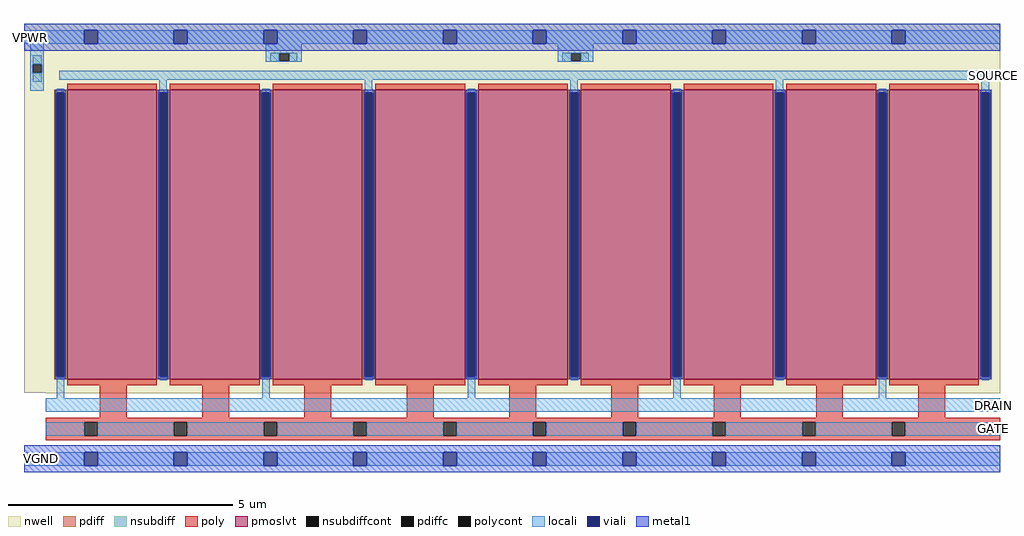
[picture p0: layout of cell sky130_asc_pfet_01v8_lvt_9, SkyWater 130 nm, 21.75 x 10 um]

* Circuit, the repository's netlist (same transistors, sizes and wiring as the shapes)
* NGSPICE file created from sky130_asc_pfet_01v8_lvt_9.ext - technology: sky130A

.subckt sky130_asc_pfet_01v8_lvt_9 GATE SOURCE DRAIN VGND VPWR
X0 SOURCE GATE DRAIN VPWR sky130_fd_pr__pfet_01v8_lvt ad=9.3525e+12p pd=6.74e+07u as=9.3525e+12p ps=6.74e+07u w=6.45e+06u l=2e+06u
X1 DRAIN GATE SOURCE VPWR sky130_fd_pr__pfet_01v8_lvt ad=0p pd=0u as=0p ps=0u w=6.45e+06u l=2e+06u
X2 SOURCE GATE DRAIN VPWR sky130_fd_pr__pfet_01v8_lvt ad=0p pd=0u as=0p ps=0u w=6.45e+06u l=2e+06u
X3 SOURCE GATE DRAIN VPWR sky130_fd_pr__pfet_01v8_lvt ad=0p pd=0u as=0p ps=0u w=6.45e+06u l=2e+06u
X4 SOURCE GATE DRAIN VPWR sky130_fd_pr__pfet_01v8_lvt ad=0p pd=0u as=0p ps=0u w=6.45e+06u l=2e+06u
X5 DRAIN GATE SOURCE VPWR sky130_fd_pr__pfet_01v8_lvt ad=0p pd=0u as=0p ps=0u w=6.45e+06u l=2e+06u
X6 DRAIN GATE SOURCE VPWR sky130_fd_pr__pfet_01v8_lvt ad=0p pd=0u as=0p ps=0u w=6.45e+06u l=2e+06u
X7 SOURCE GATE DRAIN VPWR sky130_fd_pr__pfet_01v8_lvt ad=0p pd=0u as=0p ps=0u w=6.45e+06u l=2e+06u
X8 DRAIN GATE SOURCE VPWR sky130_fd_pr__pfet_01v8_lvt ad=0p pd=0u as=0p ps=0u w=6.45e+06u l=2e+06u
.ends

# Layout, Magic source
magic
tech sky130A
magscale 1 2
<< nwell >>
rect 120 294 4470 1940
rect 218 293 4470 294
<< pmoslvt >>
rect 312 355 712 1645
rect 770 355 1170 1645
rect 1228 355 1628 1645
rect 1686 355 2086 1645
rect 2144 355 2544 1645
rect 2602 355 3002 1645
rect 3060 355 3460 1645
rect 3518 355 3918 1645
rect 3976 355 4376 1645
<< pdiff >>
rect 254 1633 312 1645
rect 254 367 266 1633
rect 300 367 312 1633
rect 254 355 312 367
rect 712 1633 770 1645
rect 712 367 724 1633
rect 758 367 770 1633
rect 712 355 770 367
rect 1170 1633 1228 1645
rect 1170 367 1182 1633
rect 1216 367 1228 1633
rect 1170 355 1228 367
rect 1628 1633 1686 1645
rect 1628 367 1640 1633
rect 1674 367 1686 1633
rect 1628 355 1686 367
rect 2086 1633 2144 1645
rect 2086 367 2098 1633
rect 2132 367 2144 1633
rect 2086 355 2144 367
rect 2544 1633 2602 1645
rect 2544 367 2556 1633
rect 2590 367 2602 1633
rect 2544 355 2602 367
rect 3002 1633 3060 1645
rect 3002 367 3014 1633
rect 3048 367 3060 1633
rect 3002 355 3060 367
rect 3460 1633 3518 1645
rect 3460 367 3472 1633
rect 3506 367 3518 1633
rect 3460 355 3518 367
rect 3918 1633 3976 1645
rect 3918 367 3930 1633
rect 3964 367 3976 1633
rect 3918 355 3976 367
rect 4376 1633 4434 1645
rect 4376 367 4388 1633
rect 4422 367 4434 1633
rect 4376 355 4434 367
<< pdiffc >>
rect 266 367 300 1633
rect 724 367 758 1633
rect 1182 367 1216 1633
rect 1640 367 1674 1633
rect 2098 367 2132 1633
rect 2556 367 2590 1633
rect 3014 367 3048 1633
rect 3472 367 3506 1633
rect 3930 367 3964 1633
rect 4388 367 4422 1633
<< nsubdiff >>
rect 1218 1808 1338 1810
rect 158 1760 198 1800
rect 1218 1772 1258 1808
rect 1302 1772 1338 1808
rect 1218 1770 1338 1772
rect 2518 1808 2638 1810
rect 2518 1772 2558 1808
rect 2602 1772 2638 1808
rect 2518 1770 2638 1772
rect 158 1680 198 1720
<< nsubdiffcont >>
rect 1258 1772 1302 1808
rect 2558 1772 2602 1808
rect 158 1720 198 1760
<< poly >>
rect 312 1645 712 1671
rect 770 1645 1170 1671
rect 1228 1645 1628 1671
rect 1686 1645 2086 1671
rect 2144 1645 2544 1671
rect 2602 1645 3002 1671
rect 3060 1645 3460 1671
rect 3518 1645 3918 1671
rect 3976 1645 4376 1671
rect 312 329 712 355
rect 770 329 1170 355
rect 1228 329 1628 355
rect 1686 329 2086 355
rect 2144 329 2544 355
rect 2602 329 3002 355
rect 3060 329 3460 355
rect 3518 329 3918 355
rect 3976 329 4376 355
rect 458 184 578 329
rect 914 184 1034 329
rect 1370 184 1490 329
rect 1826 184 1946 329
rect 2282 184 2402 329
rect 2738 184 2858 329
rect 3194 184 3314 329
rect 3650 184 3770 329
rect 4106 184 4226 329
rect 218 164 4470 184
rect 218 104 388 164
rect 448 104 788 164
rect 848 104 1188 164
rect 1248 104 1588 164
rect 1648 104 1988 164
rect 2048 104 2388 164
rect 2448 104 2788 164
rect 2848 104 3188 164
rect 3248 104 3588 164
rect 3648 104 3988 164
rect 4048 104 4470 164
rect 218 84 4470 104
<< polycont >>
rect 388 104 448 164
rect 788 104 848 164
rect 1188 104 1248 164
rect 1588 104 1648 164
rect 1988 104 2048 164
rect 2388 104 2448 164
rect 2788 104 2848 164
rect 3188 104 3248 164
rect 3588 104 3648 164
rect 3988 104 4048 164
<< locali >>
rect 120 1850 388 1910
rect 448 1850 788 1910
rect 848 1850 1188 1910
rect 1248 1850 1588 1910
rect 1648 1850 1988 1910
rect 2048 1850 2388 1910
rect 2448 1850 2788 1910
rect 2848 1850 3188 1910
rect 3248 1850 3588 1910
rect 3648 1850 3988 1910
rect 4048 1850 4470 1910
rect 148 1760 208 1850
rect 1198 1808 1358 1850
rect 1198 1772 1258 1808
rect 1302 1772 1358 1808
rect 1198 1770 1358 1772
rect 2498 1808 2658 1850
rect 2498 1772 2558 1808
rect 2602 1772 2658 1808
rect 2498 1770 2658 1772
rect 148 1720 158 1760
rect 198 1720 208 1760
rect 148 1640 208 1720
rect 278 1690 4470 1730
rect 723 1649 757 1690
rect 1639 1649 1673 1690
rect 2555 1649 2589 1690
rect 3471 1649 3505 1690
rect 4387 1649 4421 1690
rect 266 1633 300 1649
rect 265 367 266 374
rect 723 1633 758 1649
rect 723 1626 724 1633
rect 265 351 300 367
rect 1182 1633 1216 1649
rect 724 351 758 367
rect 1181 367 1182 374
rect 1639 1633 1674 1649
rect 1639 1626 1640 1633
rect 1181 351 1216 367
rect 2098 1633 2132 1649
rect 1640 351 1674 367
rect 2097 367 2098 374
rect 2555 1633 2590 1649
rect 2555 1626 2556 1633
rect 2097 351 2132 367
rect 3014 1633 3048 1649
rect 2556 351 2590 367
rect 3013 367 3014 374
rect 3471 1633 3506 1649
rect 3471 1626 3472 1633
rect 3013 351 3048 367
rect 3930 1633 3964 1649
rect 3472 351 3506 367
rect 3929 367 3930 374
rect 4387 1633 4422 1649
rect 4387 1626 4388 1633
rect 3929 351 3964 367
rect 4388 351 4422 367
rect 265 270 299 351
rect 1181 270 1215 351
rect 2097 270 2131 351
rect 3013 270 3047 351
rect 3929 270 3963 351
rect 218 210 4470 270
rect 218 104 388 164
rect 448 104 788 164
rect 848 104 1188 164
rect 1248 104 1588 164
rect 1648 104 1988 164
rect 2048 104 2388 164
rect 2448 104 2788 164
rect 2848 104 3188 164
rect 3248 104 3588 164
rect 3648 104 3988 164
rect 4048 104 4470 164
rect 120 -30 388 30
rect 448 -30 788 30
rect 848 -30 1188 30
rect 1248 -30 1588 30
rect 1648 -30 1988 30
rect 2048 -30 2388 30
rect 2448 -30 2788 30
rect 2848 -30 3188 30
rect 3248 -30 3588 30
rect 3648 -30 3988 30
rect 4048 -30 4470 30
<< viali >>
rect 388 1850 448 1910
rect 788 1850 848 1910
rect 1188 1850 1248 1910
rect 1588 1850 1648 1910
rect 1988 1850 2048 1910
rect 2388 1850 2448 1910
rect 2788 1850 2848 1910
rect 3188 1850 3248 1910
rect 3588 1850 3648 1910
rect 3988 1850 4048 1910
rect 266 367 300 1633
rect 724 367 758 1633
rect 1182 367 1216 1633
rect 1640 367 1674 1633
rect 2098 367 2132 1633
rect 2556 367 2590 1633
rect 3014 367 3048 1633
rect 3472 367 3506 1633
rect 3930 367 3964 1633
rect 4388 367 4422 1633
rect 388 -30 448 30
rect 788 -30 848 30
rect 1188 -30 1248 30
rect 1588 -30 1648 30
rect 1988 -30 2048 30
rect 2388 -30 2448 30
rect 2788 -30 2848 30
rect 3188 -30 3248 30
rect 3588 -30 3648 30
rect 3988 -30 4048 30
<< metal1 >>
rect 120 1910 4470 1940
rect 120 1850 388 1910
rect 448 1850 788 1910
rect 848 1850 1188 1910
rect 1248 1850 1588 1910
rect 1648 1850 1988 1910
rect 2048 1850 2388 1910
rect 2448 1850 2788 1910
rect 2848 1850 3188 1910
rect 3248 1850 3588 1910
rect 3648 1850 3988 1910
rect 4048 1850 4470 1910
rect 120 1820 4470 1850
rect 260 1633 306 1645
rect 260 367 266 1633
rect 300 367 306 1633
rect 260 355 306 367
rect 718 1633 764 1645
rect 718 367 724 1633
rect 758 367 764 1633
rect 718 355 764 367
rect 1176 1633 1222 1645
rect 1176 367 1182 1633
rect 1216 367 1222 1633
rect 1176 355 1222 367
rect 1634 1633 1680 1645
rect 1634 367 1640 1633
rect 1674 367 1680 1633
rect 1634 355 1680 367
rect 2092 1633 2138 1645
rect 2092 367 2098 1633
rect 2132 367 2138 1633
rect 2092 355 2138 367
rect 2550 1633 2596 1645
rect 2550 367 2556 1633
rect 2590 367 2596 1633
rect 2550 355 2596 367
rect 3008 1633 3054 1645
rect 3008 367 3014 1633
rect 3048 367 3054 1633
rect 3008 355 3054 367
rect 3466 1633 3512 1645
rect 3466 367 3472 1633
rect 3506 367 3512 1633
rect 3466 355 3512 367
rect 3924 1633 3970 1645
rect 3924 367 3930 1633
rect 3964 367 3970 1633
rect 3924 355 3970 367
rect 4382 1633 4428 1645
rect 4382 367 4388 1633
rect 4422 367 4428 1633
rect 4382 355 4428 367
rect 120 30 4470 60
rect 120 -30 388 30
rect 448 -30 788 30
rect 848 -30 1188 30
rect 1248 -30 1588 30
rect 1648 -30 1988 30
rect 2048 -30 2388 30
rect 2448 -30 2788 30
rect 2848 -30 3188 30
rect 3248 -30 3588 30
rect 3648 -30 3988 30
rect 4048 -30 4470 30
rect 120 -60 4470 -30
<< labels >>
flabel nwell 120 1850 180 1910 1 FreeSans 800 0 0 0 VPWR
port 4 n power bidirectional
flabel metal1 120 -30 278 30 1 FreeSans 800 0 0 0 VGND
port 5 n ground bidirectional
flabel locali 4410 1690 4470 1730 1 FreeSans 800 0 0 0 SOURCE
port 2 n signal bidirectional
flabel locali 4410 210 4470 270 1 FreeSans 800 0 0 0 DRAIN
port 3 n signal bidirectional
flabel locali 4410 104 4470 164 1 FreeSans 800 0 0 0 GATE
port 1 n signal bidirectional
<< properties >>
string FIXED_BBOX 0 0 4770 1880
string LEFclass CORE
string LEFsite unitasc
<< end >>
